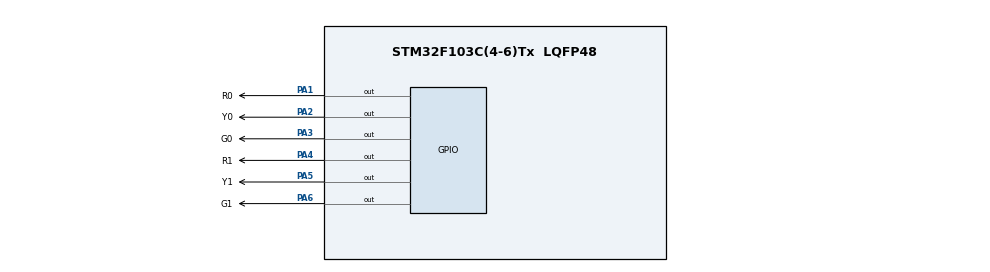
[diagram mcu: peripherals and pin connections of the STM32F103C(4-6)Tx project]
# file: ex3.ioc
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Mcu.Family=STM32F1
Mcu.Name=STM32F103C(4-6)Tx
Mcu.Package=LQFP48
NVIC.PriorityGroup=NVIC_PRIORITYGROUP_4
PA1.GPIO_Label=R0
PA1.Signal=GPIO_Output
PA2.GPIO_Label=Y0
PA2.Signal=GPIO_Output
PA3.GPIO_Label=G0
PA3.Signal=GPIO_Output
PA4.GPIO_Label=R1
PA4.Signal=GPIO_Output
PA5.GPIO_Label=Y1
PA5.Signal=GPIO_Output
PA6.GPIO_Label=G1
PA6.Signal=GPIO_Output
ProjectManager.HeapSize=0x200
ProjectManager.StackSize=0x400
ProjectManager.TargetToolchain=STM32CubeIDE
RCC.APB1Freq_Value=8000000
RCC.APB2Freq_Value=8000000
VP_SYS_VS_ND.Mode=No_Debug
board=custom

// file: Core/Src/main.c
/* USER CODE BEGIN Header */
/**
  ******************************************************************************
  * @file           : main.c
  * @brief          : Main program body
  ******************************************************************************
  * @attention
  *
  * <h2><center>&copy; Copyright (c) 2024 STMicroelectronics.
  * All rights reserved.</center></h2>
  *
  * This software component is licensed by ST under BSD 3-Clause license,
  * the "License"; You may not use this file except in compliance with the
  * License. You may obtain a copy of the License at:
  *                        opensource.org/licenses/BSD-3-Clause
  *
  ******************************************************************************
  */
/* USER CODE END Header */
#include "main.h"

void SystemClock_Config(void);
static void MX_GPIO_Init(void);

int main(void)
{

  /* MCU Configuration--------------------------------------------------------*/

  /* Reset of all peripherals, Initializes the Flash interface and the Systick. */
  HAL_Init();

  /* Configure the system clock */
  SystemClock_Config();

  /* Initialize all configured peripherals */
  MX_GPIO_Init();

  /* Infinite loop */
  /* USER CODE BEGIN WHILE */
  HAL_GPIO_WritePin(R0_GPIO_Port, R0_Pin, GPIO_PIN_RESET);
  HAL_GPIO_WritePin(Y0_GPIO_Port, Y0_Pin, GPIO_PIN_RESET);
  HAL_GPIO_WritePin(G0_GPIO_Port, G0_Pin, GPIO_PIN_RESET);
  HAL_GPIO_WritePin(R1_GPIO_Port, R1_Pin, GPIO_PIN_RESET);
  HAL_GPIO_WritePin(Y1_GPIO_Port, Y1_Pin, GPIO_PIN_RESET);
  HAL_GPIO_WritePin(G1_GPIO_Port, G1_Pin, GPIO_PIN_RESET);
  int GPIO_Port0[3] = {R0_GPIO_Port, Y0_GPIO_Port, G0_GPIO_Port};
  int GPIO_Port1[3] = {R1_GPIO_Port, Y1_GPIO_Port, G1_GPIO_Port};
  int Pin0[3] = {R0_Pin, Y0_Pin, G0_Pin};
  int Pin1[3] = {R1_Pin, Y1_Pin, G1_Pin};
  int time[3] = {5, 2, 3};
  int state0 = 0;
  int state1 = 1;
  int counter0 = -1;
  int counter1 = -1;
  HAL_GPIO_WritePin(R0_GPIO_Port, R0_Pin, GPIO_PIN_SET);
  HAL_GPIO_WritePin(Y1_GPIO_Port, Y1_Pin, GPIO_PIN_SET);
  while (1)
  {
	counter0++;
	counter1++;

	if (counter0 >= time[state0])
	{
		HAL_GPIO_TogglePin(GPIO_Port0[(state0 + 2) % 3], Pin0[(state0 + 2) % 3]);
		HAL_GPIO_TogglePin(GPIO_Port0[state0], Pin0[state0]);
		state0 = (state0 + 2) % 3;
		counter0 = -1;
	}
	if (counter1 >= time[state1])
	{
		HAL_GPIO_TogglePin(GPIO_Port1[(state1 + 2) % 3], Pin1[(state1 + 2) % 3]);
		HAL_GPIO_TogglePin(GPIO_Port1[state1], Pin1[state1]);
		state1 = (state1 + 2) % 3;
		counter1 = -1;
	}

	HAL_Delay(1000);
    /* USER CODE END WHILE */

  }
}

void SystemClock_Config(void)
{
  RCC_OscInitTypeDef RCC_OscInitStruct = {0};
  RCC_ClkInitTypeDef RCC_ClkInitStruct = {0};

  /** Initializes the RCC Oscillators according to the specified parameters
  * in the RCC_OscInitTypeDef structure.
  */
  RCC_OscInitStruct.OscillatorType = RCC_OSCILLATORTYPE_HSI;
  RCC_OscInitStruct.HSIState = RCC_HSI_ON;
  RCC_OscInitStruct.HSICalibrationValue = RCC_HSICALIBRATION_DEFAULT;
  RCC_OscInitStruct.PLL.PLLState = RCC_PLL_NONE;
  if (HAL_RCC_OscConfig(&RCC_OscInitStruct) != HAL_OK)
  {
    Error_Handler();
  }
  /** Initializes the CPU, AHB and APB buses clocks
  */
  RCC_ClkInitStruct.ClockType = RCC_CLOCKTYPE_HCLK|RCC_CLOCKTYPE_SYSCLK
                              |RCC_CLOCKTYPE_PCLK1|RCC_CLOCKTYPE_PCLK2;
  RCC_ClkInitStruct.SYSCLKSource = RCC_SYSCLKSOURCE_HSI;
  RCC_ClkInitStruct.AHBCLKDivider = RCC_SYSCLK_DIV1;
  RCC_ClkInitStruct.APB1CLKDivider = RCC_HCLK_DIV1;
  RCC_ClkInitStruct.APB2CLKDivider = RCC_HCLK_DIV1;

  if (HAL_RCC_ClockConfig(&RCC_ClkInitStruct, FLASH_LATENCY_0) != HAL_OK)
  {
    Error_Handler();
  }
}

static void MX_GPIO_Init(void)
{
  GPIO_InitTypeDef GPIO_InitStruct = {0};

  /* GPIO Ports Clock Enable */
  __HAL_RCC_GPIOA_CLK_ENABLE();

  /*Configure GPIO pin Output Level */
  HAL_GPIO_WritePin(GPIOA, R0_Pin|Y0_Pin|G0_Pin|R1_Pin
                          |Y1_Pin|G1_Pin, GPIO_PIN_RESET);

  /*Configure GPIO pins : R0_Pin Y0_Pin G0_Pin R1_Pin
                           Y1_Pin G1_Pin */
  GPIO_InitStruct.Pin = R0_Pin|Y0_Pin|G0_Pin|R1_Pin
                          |Y1_Pin|G1_Pin;
  GPIO_InitStruct.Mode = GPIO_MODE_OUTPUT_PP;
  GPIO_InitStruct.Pull = GPIO_NOPULL;
  GPIO_InitStruct.Speed = GPIO_SPEED_FREQ_LOW;
  HAL_GPIO_Init(GPIOA, &GPIO_InitStruct);

}

void Error_Handler(void)
{
  __disable_irq();
  while (1)
  {
  }
}

/************************ (C) COPYRIGHT STMicroelectronics *****END OF FILE****/
